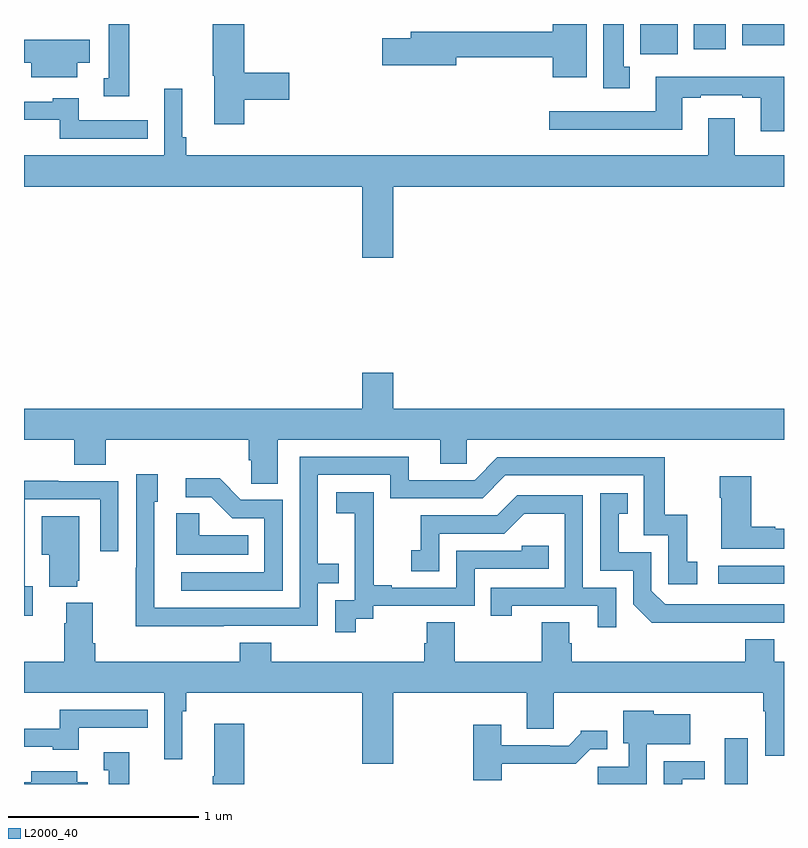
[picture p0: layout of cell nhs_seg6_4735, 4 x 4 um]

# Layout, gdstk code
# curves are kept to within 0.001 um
import gdstk
lib = gdstk.Library(unit=1e-6, precision=1e-09)
def R(c, l, rs):  # rectangles x0, y0, x1, y1
    for r in rs: c.add(gdstk.rectangle(r[:2], r[2:], *l))
def P(c, l, *ps):  # polygons
    for p in ps: c.add(gdstk.Polygon(p, *l))
L2000_40 = (2000, 40)

nhs_seg6_4735 = lib.new_cell('nhs_seg6_4735')
R(nhs_seg6_4735, L2000_40, [(394.688,969.5,394.81,969.742), (394.653,970.554,395,970.65), (394.244,973.34,394.441,973.5), (394.526,973.368,394.693,973.5), (394.781,973.388,395,973.5)])
P(nhs_seg6_4735, L2000_40, [(392.159,973.102),(392.395,973.102),(392.395,973.244),(392.159,973.244),(392.159,973.5),(391.993,973.5),(391.993,973.227),(392,973.227),(392,972.972),(392.159,972.972)],
  [(394.189,973.274),(394.156,973.274),(394.156,973.5),(394.049,973.5),(394.049,973.161),(394.189,973.161)],
  [(393.961,973.5),(393.782,973.5),(393.782,973.46),(393.035,973.46),(393.035,973.424),(392.886,973.424),(392.886,973.282),(393.274,973.282),(393.274,973.324),(393.782,973.324),(393.782,973.22),(393.961,973.22)],
  [(391.555,973.5),(391.446,973.5),(391.446,973.215),(391.421,973.215),(391.421,973.121),(391.555,973.121)],
  [(391.279,973.295),(391.345,973.295),(391.345,973.417),(391,973.417),(391,973.295),(391.037,973.295),(391.037,973.22),(391.279,973.22)],
  [(395,973.222),(394.325,973.222),(394.325,973.041),(393.765,973.041),(393.765,972.944),(394.465,972.944),(394.465,973.113),(394.561,973.113),(394.561,973.125),(394.781,973.125),(394.781,973.113),(394.877,973.113),(394.877,972.936),(395,972.936)],
  [(392.944,972.644),(395,972.644),(395,972.808),(394.741,972.808),(394.741,973.003),(394.601,973.003),(394.601,972.808),(391.853,972.808),(391.853,972.904),(391.834,972.904),(391.834,973.159),(391.737,973.159),(391.737,972.808),(391,972.808),(391,972.644),(392.78,972.644),(392.78,972.27),(392.944,972.27)],
  [(391.652,972.993),(391.288,972.993),(391.288,973.108),(391.152,973.108),(391.152,973.092),(391,973.092),(391,972.996),(391.189,972.996),(391.189,972.897),(391.652,972.897)],
  [(392.335,971.312),(393.191,971.312),(393.191,971.185),(393.33,971.185),(393.33,971.312),(395,971.312),(395,971.476),(392.944,971.476),(392.944,971.665),(392.78,971.665),(392.78,971.476),(391,971.476),(391,971.312),(391.265,971.312),(391.265,971.179),(391.43,971.179),(391.43,971.312),(392.183,971.312),(392.183,971.203),(392.196,971.203),(392.196,971.08),(392.335,971.08)],
  [(392.051,970.332),(392.547,970.332),(392.547,970.557),(392.657,970.557),(392.657,970.658),(392.547,970.658),(392.547,971.127),(392.928,971.127),(392.928,971.004),(393.414,971.004),(393.534,971.124),(394.263,971.124),(394.263,970.809),(394.392,970.809),(394.392,970.551),(394.543,970.551),(394.543,970.671),(394.49,970.671),(394.49,970.918),(394.372,970.918),(394.372,971.22),(393.492,971.22),(393.372,971.1),(393.025,971.1),(393.025,971.223),(392.451,971.223),(392.451,970.428),(391.686,970.428),(391.686,970.986),(391.705,970.986),(391.705,971.131),(391.59,971.131),(391.59,970.637),(391.588,970.637),(391.588,970.331)],
  [(395,970.843),(394.955,970.843),(394.955,970.853),(394.828,970.853),(394.828,971.119),(394.663,971.119),(394.663,971.006),(394.67,971.006),(394.67,970.739),(395,970.739)],
  [(392.361,970.995),(392.142,970.995),(392.029,971.108),(391.851,971.108),(391.851,971.01),(391.985,971.01),(392.096,970.899),(392.265,970.899),(392.265,970.614),(391.827,970.614),(391.827,970.518),(392.361,970.518)],
  [(391.045,970.542),(391.005,970.542),(391.005,970.998),(391.401,970.998),(391.401,970.725),(391.497,970.725),(391.497,971.094),(391.181,971.094),(391.181,971.096),(391,971.096),(391,970.386),(391.045,970.386)],
  [(392.746,970.369),(392.838,970.369),(392.838,970.437),(393.372,970.437),(393.372,970.632),(393.761,970.632),(393.761,970.755),(393.621,970.755),(393.621,970.728),(393.276,970.728),(393.276,970.533),(392.935,970.533),(392.935,970.546),(392.84,970.546),(392.84,970.829),(392.841,970.829),(392.841,971.035),(392.643,971.035),(392.643,970.925),(392.741,970.925),(392.741,970.697),(392.742,970.697),(392.742,970.467),(392.637,970.467),(392.637,970.299),(392.746,970.299)],
  [(394.712,970.35),(395,970.35),(395,970.446),(394.374,970.446),(394.302,970.518),(394.302,970.719),(394.129,970.719),(394.129,970.923),(394.178,970.923),(394.178,971.029),(394.032,971.029),(394.032,970.623),(394.206,970.623),(394.206,970.446),(394.304,970.349)],
  [(394.116,970.533),(393.942,970.533),(393.942,971.019),(393.596,971.019),(393.491,970.914),(393.088,970.914),(393.088,970.729),(393.039,970.729),(393.039,970.62),(393.186,970.62),(393.186,970.818),(393.528,970.818),(393.632,970.922),(393.846,970.922),(393.846,970.533),(393.457,970.533),(393.457,970.386),(393.568,970.386),(393.568,970.437),(394.019,970.437),(394.019,970.326),(394.116,970.326)],
  [(392.18,970.81),(391.923,970.81),(391.923,970.925),(391.802,970.925),(391.802,970.706),(392.18,970.706)],
  [(391.28,970.569),(391.291,970.569),(391.291,970.909),(391.094,970.909),(391.094,970.706),(391.133,970.706),(391.133,970.538),(391.28,970.538)],
  [(392.944,969.98),(393.647,969.98),(393.647,969.79),(393.787,969.79),(393.787,969.98),(394.89,969.98),(394.89,969.884),(394.902,969.884),(394.902,969.648),(395,969.648),(395,970.144),(394.948,970.144),(394.948,970.261),(394.796,970.261),(394.796,970.144),(393.884,970.144),(393.884,970.242),(393.871,970.242),(393.871,970.352),(393.724,970.352),(393.724,970.144),(393.267,970.144),(393.267,970.352),(393.119,970.352),(393.119,970.242),(393.107,970.242),(393.107,970.144),(392.3,970.144),(392.3,970.243),(392.135,970.243),(392.135,970.144),(391.376,970.144),(391.376,970.24),(391.363,970.24),(391.363,970.453),(391.223,970.453),(391.223,970.346),(391.211,970.346),(391.211,970.144),(391,970.144),(391,969.98),(391.737,969.98),(391.737,969.63),(391.834,969.63),(391.834,969.884),(391.853,969.884),(391.853,969.98),(392.78,969.98),(392.78,969.606),(392.944,969.606)],
  [(391.288,969.795),(391.652,969.795),(391.652,969.891),(391.189,969.891),(391.189,969.792),(391,969.792),(391,969.696),(391.152,969.696),(391.152,969.68),(391.288,969.68)],
  [(394.278,969.71),(394.507,969.71),(394.507,969.868),(394.314,969.868),(394.314,969.886),(394.154,969.886),(394.154,969.714),(394.182,969.714),(394.182,969.591),(394.019,969.591),(394.019,969.5),(394.278,969.5)],
  [(392.159,969.817),(392,969.817),(392,969.542),(391.993,969.542),(391.993,969.5),(392.159,969.5)],
  [(393.514,969.606),(393.903,969.606),(393.981,969.684),(394.069,969.684),(394.069,969.781),(393.93,969.781),(393.93,969.766),(393.866,969.702),(393.767,969.702),(393.767,969.705),(393.511,969.705),(393.511,969.811),(393.364,969.811),(393.364,969.521),(393.514,969.521)],
  [(391.555,969.667),(391.421,969.667),(391.421,969.573),(391.446,969.573),(391.446,969.5),(391.555,969.5)],
  [(394.464,969.525),(394.582,969.525),(394.582,969.621),(394.368,969.621),(394.368,969.5),(394.464,969.5)],
  [(391.336,969.508),(391.279,969.508),(391.279,969.568),(391.037,969.568),(391.037,969.508),(391,969.508),(391,969.5),(391.336,969.5)])

lib.write_gds('nhs_seg6_4735.gds')
